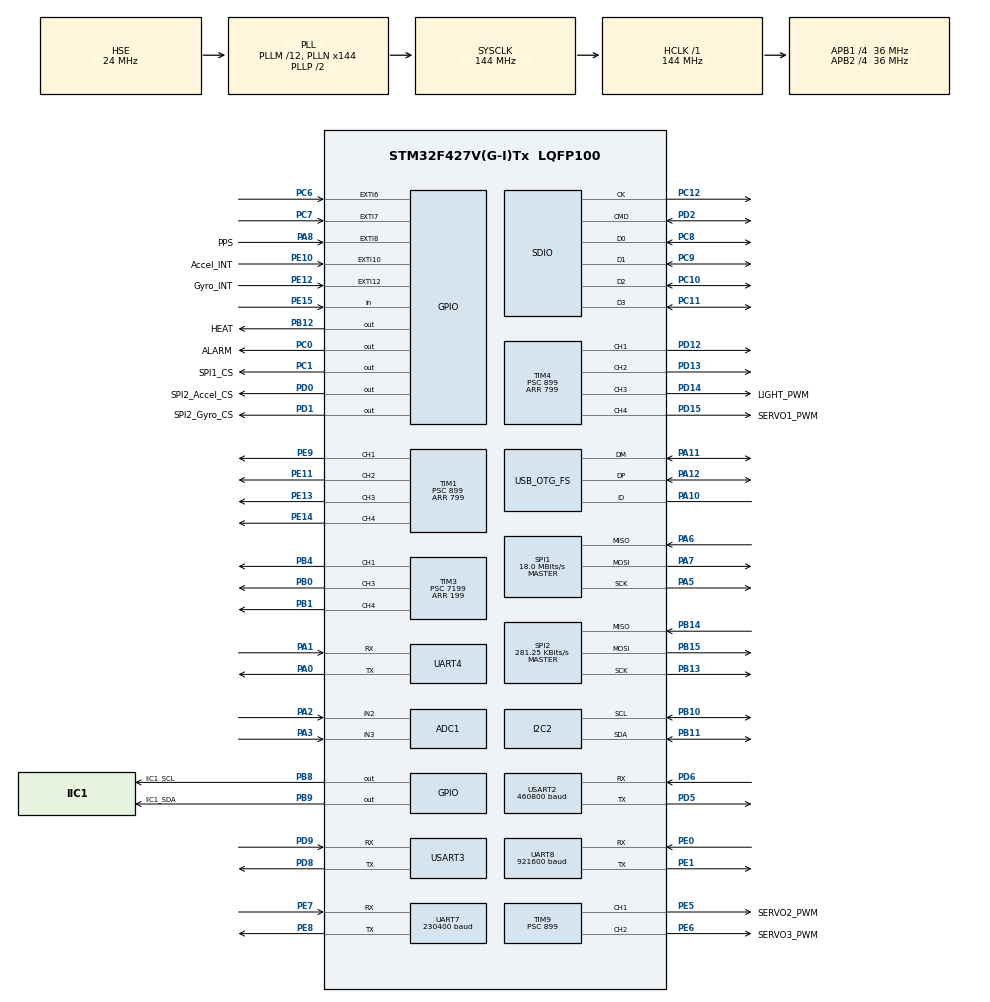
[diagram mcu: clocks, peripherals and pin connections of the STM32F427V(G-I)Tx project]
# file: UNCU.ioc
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ADC1.Channel-0\#ChannelRegularConversion=ADC_CHANNEL_2
ADC1.Channel-1\#ChannelRegularConversion=ADC_CHANNEL_3
ADC1.ClockPrescaler=ADC_CLOCK_SYNC_PCLK_DIV8
ADC1.ContinuousConvMode=ENABLE
ADC1.DMAContinuousRequests=ENABLE
ADC1.EnableAnalogWatchDog=false
ADC1.InjNumberOfConversion=0
ADC1.NbrOfConversion=2
ADC1.NbrOfConversionFlag=1
ADC1.Rank-0\#ChannelRegularConversion=1
ADC1.Rank-1\#ChannelRegularConversion=2
ADC1.SamplingTime-0\#ChannelRegularConversion=ADC_SAMPLETIME_28CYCLES
ADC1.SamplingTime-1\#ChannelRegularConversion=ADC_SAMPLETIME_28CYCLES
ADC1.ScanConvMode=ENABLE
ADC1.master=1
Dma.ADC1.2.Direction=DMA_PERIPH_TO_MEMORY
Dma.ADC1.2.FIFOMode=DMA_FIFOMODE_DISABLE
Dma.ADC1.2.Instance=DMA2_Stream0
Dma.ADC1.2.MemDataAlignment=DMA_MDATAALIGN_HALFWORD
Dma.ADC1.2.MemInc=DMA_MINC_ENABLE
Dma.ADC1.2.Mode=DMA_CIRCULAR
Dma.ADC1.2.PeriphDataAlignment=DMA_PDATAALIGN_HALFWORD
Dma.ADC1.2.PeriphInc=DMA_PINC_DISABLE
Dma.ADC1.2.Priority=DMA_PRIORITY_LOW
Dma.Request0=UART4_RX
Dma.Request1=USART2_RX
Dma.Request2=ADC1
Dma.Request3=SDIO_RX
Dma.Request4=SDIO_TX
Dma.Request5=UART8_TX
Dma.Request6=UART8_RX
Dma.Request7=SPI2_TX
Dma.Request8=USART3_RX
Dma.Request9=SPI2_RX
Dma.SDIO_RX.3.Direction=DMA_PERIPH_TO_MEMORY
Dma.SDIO_RX.3.FIFOMode=DMA_FIFOMODE_ENABLE
Dma.SDIO_RX.3.FIFOThreshold=DMA_FIFO_THRESHOLD_FULL
Dma.SDIO_RX.3.Instance=DMA2_Stream3
Dma.SDIO_RX.3.MemBurst=DMA_MBURST_INC4
Dma.SDIO_RX.3.MemDataAlignment=DMA_MDATAALIGN_WORD
Dma.SDIO_RX.3.MemInc=DMA_MINC_ENABLE
Dma.SDIO_RX.3.Mode=DMA_PFCTRL
Dma.SDIO_RX.3.PeriphBurst=DMA_PBURST_INC4
Dma.SDIO_RX.3.PeriphDataAlignment=DMA_PDATAALIGN_WORD
Dma.SDIO_RX.3.PeriphInc=DMA_PINC_DISABLE
Dma.SDIO_RX.3.Priority=DMA_PRIORITY_LOW
Dma.SDIO_TX.4.Direction=DMA_MEMORY_TO_PERIPH
Dma.SDIO_TX.4.FIFOMode=DMA_FIFOMODE_ENABLE
Dma.SDIO_TX.4.FIFOThreshold=DMA_FIFO_THRESHOLD_FULL
Dma.SDIO_TX.4.Instance=DMA2_Stream6
Dma.SDIO_TX.4.MemBurst=DMA_MBURST_INC4
Dma.SDIO_TX.4.MemDataAlignment=DMA_MDATAALIGN_WORD
Dma.SDIO_TX.4.MemInc=DMA_MINC_ENABLE
Dma.SDIO_TX.4.Mode=DMA_PFCTRL
Dma.SDIO_TX.4.PeriphBurst=DMA_PBURST_INC4
Dma.SDIO_TX.4.PeriphDataAlignment=DMA_PDATAALIGN_WORD
Dma.SDIO_TX.4.PeriphInc=DMA_PINC_DISABLE
Dma.SDIO_TX.4.Priority=DMA_PRIORITY_LOW
Dma.SPI2_RX.9.Direction=DMA_PERIPH_TO_MEMORY
Dma.SPI2_RX.9.FIFOMode=DMA_FIFOMODE_DISABLE
Dma.SPI2_RX.9.Instance=DMA1_Stream3
Dma.SPI2_RX.9.MemDataAlignment=DMA_MDATAALIGN_BYTE
Dma.SPI2_RX.9.MemInc=DMA_MINC_ENABLE
Dma.SPI2_RX.9.Mode=DMA_NORMAL
Dma.SPI2_RX.9.PeriphDataAlignment=DMA_PDATAALIGN_BYTE
Dma.SPI2_RX.9.PeriphInc=DMA_PINC_DISABLE
Dma.SPI2_RX.9.Priority=DMA_PRIORITY_VERY_HIGH
Dma.SPI2_TX.7.Direction=DMA_MEMORY_TO_PERIPH
Dma.SPI2_TX.7.FIFOMode=DMA_FIFOMODE_DISABLE
Dma.SPI2_TX.7.Instance=DMA1_Stream4
Dma.SPI2_TX.7.MemDataAlignment=DMA_MDATAALIGN_BYTE
Dma.SPI2_TX.7.MemInc=DMA_MINC_ENABLE
Dma.SPI2_TX.7.Mode=DMA_NORMAL
Dma.SPI2_TX.7.PeriphDataAlignment=DMA_PDATAALIGN_BYTE
Dma.SPI2_TX.7.PeriphInc=DMA_PINC_DISABLE
Dma.SPI2_TX.7.Priority=DMA_PRIORITY_HIGH
Dma.UART4_RX.0.Direction=DMA_PERIPH_TO_MEMORY
Dma.UART4_RX.0.FIFOMode=DMA_FIFOMODE_DISABLE
Dma.UART4_RX.0.Instance=DMA1_Stream2
Dma.UART4_RX.0.MemDataAlignment=DMA_MDATAALIGN_BYTE
Dma.UART4_RX.0.MemInc=DMA_MINC_ENABLE
Dma.UART4_RX.0.Mode=DMA_NORMAL
Dma.UART4_RX.0.PeriphDataAlignment=DMA_PDATAALIGN_BYTE
Dma.UART4_RX.0.PeriphInc=DMA_PINC_DISABLE
Dma.UART4_RX.0.Priority=DMA_PRIORITY_LOW
Dma.UART8_RX.6.Direction=DMA_PERIPH_TO_MEMORY
Dma.UART8_RX.6.FIFOMode=DMA_FIFOMODE_DISABLE
Dma.UART8_RX.6.Instance=DMA1_Stream6
Dma.UART8_RX.6.MemDataAlignment=DMA_MDATAALIGN_BYTE
Dma.UART8_RX.6.MemInc=DMA_MINC_ENABLE
Dma.UART8_RX.6.Mode=DMA_NORMAL
Dma.UART8_RX.6.PeriphDataAlignment=DMA_PDATAALIGN_BYTE
Dma.UART8_RX.6.PeriphInc=DMA_PINC_DISABLE
Dma.UART8_RX.6.Priority=DMA_PRIORITY_LOW
Dma.UART8_TX.5.Direction=DMA_MEMORY_TO_PERIPH
Dma.UART8_TX.5.FIFOMode=DMA_FIFOMODE_DISABLE
Dma.UART8_TX.5.Instance=DMA1_Stream0
Dma.UART8_TX.5.MemDataAlignment=DMA_MDATAALIGN_BYTE
Dma.UART8_TX.5.MemInc=DMA_MINC_ENABLE
Dma.UART8_TX.5.Mode=DMA_NORMAL
Dma.UART8_TX.5.PeriphDataAlignment=DMA_PDATAALIGN_BYTE
Dma.UART8_TX.5.PeriphInc=DMA_PINC_DISABLE
Dma.UART8_TX.5.Priority=DMA_PRIORITY_LOW
Dma.USART2_RX.1.Direction=DMA_PERIPH_TO_MEMORY
Dma.USART2_RX.1.FIFOMode=DMA_FIFOMODE_DISABLE
Dma.USART2_RX.1.Instance=DMA1_Stream5
Dma.USART2_RX.1.MemDataAlignment=DMA_MDATAALIGN_BYTE
Dma.USART2_RX.1.MemInc=DMA_MINC_ENABLE
Dma.USART2_RX.1.Mode=DMA_NORMAL
Dma.USART2_RX.1.PeriphDataAlignment=DMA_PDATAALIGN_BYTE
Dma.USART2_RX.1.PeriphInc=DMA_PINC_DISABLE
Dma.USART2_RX.1.Priority=DMA_PRIORITY_LOW
Dma.USART3_RX.8.Direction=DMA_PERIPH_TO_MEMORY
Dma.USART3_RX.8.FIFOMode=DMA_FIFOMODE_DISABLE
Dma.USART3_RX.8.Instance=DMA1_Stream1
Dma.USART3_RX.8.MemDataAlignment=DMA_MDATAALIGN_BYTE
Dma.USART3_RX.8.MemInc=DMA_MINC_ENABLE
Dma.USART3_RX.8.Mode=DMA_NORMAL
Dma.USART3_RX.8.PeriphDataAlignment=DMA_PDATAALIGN_BYTE
Dma.USART3_RX.8.PeriphInc=DMA_PINC_DISABLE
Dma.USART3_RX.8.Priority=DMA_PRIORITY_LOW
FATFS._CODE_PAGE=936
FATFS._FS_EXFAT=1
FATFS._FS_LOCK=4
FATFS._MAX_SS=4096
FATFS._USE_FIND=1
FATFS._USE_LFN=2
FREERTOS.Tasks01=startTask,32,1024,StarTaskEntry,Default,NULL,Dynamic,NULL,NULL
FREERTOS.configLIBRARY_MAX_SYSCALL_INTERRUPT_PRIORITY=2
FREERTOS.configTOTAL_HEAP_SIZE=51200
Mcu.Family=STM32F4
Mcu.Name=STM32F427V(G-I)Tx
Mcu.Package=LQFP100
NVIC.ADC_IRQn=true\:2\:0\:false\:false\:true\:true\:true\:true\:true
NVIC.DMA1_Stream0_IRQn=true\:2\:0\:false\:false\:true\:true\:false\:true\:true
NVIC.DMA1_Stream1_IRQn=true\:2\:0\:false\:false\:true\:true\:false\:true\:true
NVIC.DMA1_Stream2_IRQn=true\:2\:0\:false\:false\:true\:true\:false\:true\:true
NVIC.DMA1_Stream3_IRQn=true\:2\:0\:true\:false\:true\:true\:false\:true\:true
NVIC.DMA1_Stream4_IRQn=true\:2\:0\:true\:false\:true\:true\:false\:true\:true
NVIC.DMA1_Stream5_IRQn=true\:2\:0\:false\:false\:true\:true\:false\:true\:true
NVIC.DMA1_Stream6_IRQn=true\:2\:0\:false\:false\:true\:true\:false\:true\:true
NVIC.DMA2_Stream0_IRQn=true\:2\:0\:false\:false\:true\:true\:false\:true\:true
NVIC.DMA2_Stream3_IRQn=true\:7\:0\:true\:false\:true\:true\:false\:true\:true
NVIC.DMA2_Stream6_IRQn=true\:7\:0\:true\:false\:true\:true\:false\:true\:true
NVIC.PriorityGroup=NVIC_PRIORITYGROUP_4
NVIC.SDIO_IRQn=true\:5\:0\:true\:false\:true\:true\:true\:true\:true
NVIC.TIM2_IRQn=true\:15\:0\:false\:false\:true\:false\:false\:true\:true
NVIC.TimeBase=TIM2_IRQn
NVIC.TimeBaseIP=TIM2
NVIC.UART8_IRQn=true\:6\:0\:true\:false\:true\:true\:true\:true\:true
NVIC.USART3_IRQn=true\:2\:0\:false\:false\:true\:true\:true\:true\:true
PA0/WKUP.Mode=Asynchronous
PA0/WKUP.Signal=UART4_TX
PA1.Mode=Asynchronous
PA1.Signal=UART4_RX
PA10.Mode=OTG/Dual_Role_Device
PA10.Signal=USB_OTG_FS_ID
PA11.Mode=OTG/Dual_Role_Device
PA11.Signal=USB_OTG_FS_DM
PA12.Mode=OTG/Dual_Role_Device
PA12.Signal=USB_OTG_FS_DP
PA13.Mode=Serial_Wire
PA13.Signal=SYS_JTMS-SWDIO
PA14.Mode=Serial_Wire
PA14.Signal=SYS_JTCK-SWCLK
PA15.Signal=S_TIM2_CH1_ETR
PA2.Signal=ADCx_IN2
PA3.Signal=ADCx_IN3
PA5.Mode=Full_Duplex_Master
PA5.Signal=SPI1_SCK
PA6.Mode=Full_Duplex_Master
PA6.Signal=SPI1_MISO
PA7.Mode=Full_Duplex_Master
PA7.Signal=SPI1_MOSI
PA8.GPIO_Label=PPS
PA8.Signal=GPXTI8
PB0.Signal=S_TIM3_CH3
PB1.Signal=S_TIM3_CH4
PB10.Mode=I2C
PB10.Signal=I2C2_SCL
PB11.Mode=I2C
PB11.Signal=I2C2_SDA
PB12.GPIO_Label=HEAT
PB12.Signal=GPIO_Output
PB13.Mode=Full_Duplex_Master
PB13.Signal=SPI2_SCK
PB14.Mode=Full_Duplex_Master
PB14.Signal=SPI2_MISO
PB15.Mode=Full_Duplex_Master
PB15.Signal=SPI2_MOSI
PB4.Signal=S_TIM3_CH1
PB8.GPIO_Label=IIC1_SCL
PB8.GPIO_ModeDefaultOutputPP=GPIO_MODE_OUTPUT_OD
PB8.GPIO_PuPd=GPIO_NOPULL
PB8.PinState=GPIO_PIN_SET
PB8.Signal=GPIO_Output
PB9.GPIO_Label=IIC1_SDA
PB9.GPIO_ModeDefaultOutputPP=GPIO_MODE_OUTPUT_OD
PB9.GPIO_PuPd=GPIO_NOPULL
PB9.PinState=GPIO_PIN_SET
PB9.Signal=GPIO_Output
PC0.GPIO_Label=ALARM
PC0.GPIO_Speed=GPIO_SPEED_FREQ_HIGH
PC0.Signal=GPIO_Output
PC1.GPIO_Label=SPI1_CS
PC1.Signal=GPIO_Output
PC10.Mode=SD_4_bits_Wide_bus
PC10.Signal=SDIO_D2
PC11.Mode=SD_4_bits_Wide_bus
PC11.Signal=SDIO_D3
PC12.Mode=SD_4_bits_Wide_bus
PC12.Signal=SDIO_CK
PC14/OSC32_IN.Mode=LSE-External-Oscillator
PC14/OSC32_IN.Signal=RCC_OSC32_IN
PC15/OSC32_OUT.Mode=LSE-External-Oscillator
PC15/OSC32_OUT.Signal=RCC_OSC32_OUT
PC6.Signal=GPXTI6
PC7.Signal=GPXTI7
PC8.Mode=SD_4_bits_Wide_bus
PC8.Signal=SDIO_D0
PC9.Mode=SD_4_bits_Wide_bus
PC9.Signal=SDIO_D1
PD0.GPIO_Label=SPI2_Accel_CS
PD0.Signal=GPIO_Output
PD1.GPIO_Label=SPI2_Gyro_CS
PD1.Signal=GPIO_Output
PD12.Signal=S_TIM4_CH1
PD13.Signal=S_TIM4_CH2
PD14.GPIO_Label=LIGHT_PWM
PD14.Signal=S_TIM4_CH3
PD15.GPIO_Label=SERVO1_PWM
PD15.Signal=S_TIM4_CH4
PD2.Mode=SD_4_bits_Wide_bus
PD2.Signal=SDIO_CMD
PD3.Signal=USART2_CTS
PD4.Signal=USART2_RTS
PD5.Mode=Asynchronous
PD5.Signal=USART2_TX
PD6.Mode=Asynchronous
PD6.Signal=USART2_RX
PD8.Mode=Asynchronous
PD8.Signal=USART3_TX
PD9.Mode=Asynchronous
PD9.Signal=USART3_RX
PE0.Mode=Asynchronous
PE0.Signal=UART8_RX
PE1.Mode=Asynchronous
PE1.Signal=UART8_TX
PE10.GPIO_Label=Accel_INT
PE10.Signal=GPXTI10
PE11.Signal=S_TIM1_CH2
PE12.GPIO_Label=Gyro_INT
PE12.GPIO_PuPd=GPIO_PULLUP
PE12.Signal=GPXTI12
PE13.Signal=S_TIM1_CH3
PE14.Signal=S_TIM1_CH4
PE15.Signal=GPIO_Input
PE5.GPIO_Label=SERVO2_PWM
PE5.Signal=S_TIM9_CH1
PE6.GPIO_Label=SERVO3_PWM
PE6.Signal=S_TIM9_CH2
PE7.Mode=Asynchronous
PE7.Signal=UART7_RX
PE8.Mode=Asynchronous
PE8.Signal=UART7_TX
PE9.Signal=S_TIM1_CH1
PH0/OSC_IN.Mode=HSE-External-Oscillator
PH0/OSC_IN.Signal=RCC_OSC_IN
PH1/OSC_OUT.Mode=HSE-External-Oscillator
PH1/OSC_OUT.Signal=RCC_OSC_OUT
ProjectManager.HeapSize=0x500
ProjectManager.StackSize=0x1000
ProjectManager.TargetToolchain=MDK-ARM V5
RCC.48MHZClocksFreq_Value=48000000
RCC.AHBFreq_Value=144000000
RCC.APB1CLKDivider=RCC_HCLK_DIV4
RCC.APB1Freq_Value=36000000
RCC.APB1TimFreq_Value=72000000
RCC.APB2CLKDivider=RCC_HCLK_DIV4
RCC.APB2Freq_Value=36000000
RCC.APB2TimFreq_Value=72000000
RCC.CortexFreq_Value=144000000
RCC.HCLKFreq_Value=144000000
RCC.HSE_VALUE=24000000
RCC.HSI_VALUE=16000000
RCC.PLLM=12
RCC.PLLN=144
RCC.PLLQ=6
RCC.SYSCLKFreq_VALUE=144000000
RCC.SYSCLKSource=RCC_SYSCLKSOURCE_PLLCLK
RCC.VCOOutputFreq_Value=288000000
SDIO.ClockDiv=3
SH.ADCx_IN2.0=ADC1_IN2,IN2
SH.ADCx_IN3.0=ADC1_IN3,IN3
SH.S_TIM1_CH1.0=TIM1_CH1,PWM Generation1 CH1
SH.S_TIM1_CH2.0=TIM1_CH2,PWM Generation2 CH2
SH.S_TIM1_CH3.0=TIM1_CH3,PWM Generation3 CH3
SH.S_TIM1_CH4.0=TIM1_CH4,PWM Generation4 CH4
SH.S_TIM2_CH1_ETR.0=TIM2_CH1
SH.S_TIM3_CH1.0=TIM3_CH1,PWM Generation1 CH1
SH.S_TIM3_CH3.0=TIM3_CH3,PWM Generation3 CH3
SH.S_TIM3_CH4.0=TIM3_CH4,PWM Generation4 CH4
SH.S_TIM4_CH1.0=TIM4_CH1,PWM Generation1 CH1
SH.S_TIM4_CH2.0=TIM4_CH2,PWM Generation2 CH2
SH.S_TIM4_CH3.0=TIM4_CH3,PWM Generation3 CH3
SH.S_TIM4_CH4.0=TIM4_CH4,PWM Generation4 CH4
SH.S_TIM9_CH1.0=TIM9_CH1,PWM Generation1 CH1
SH.S_TIM9_CH2.0=TIM9_CH2,PWM Generation2 CH2
SPI1.BaudRatePrescaler=SPI_BAUDRATEPRESCALER_2
SPI1.CalculateBaudRate=18.0 MBits/s
SPI1.Direction=SPI_DIRECTION_2LINES
SPI1.Mode=SPI_MODE_MASTER
SPI1.VirtualType=VM_MASTER
SPI2.BaudRatePrescaler=SPI_BAUDRATEPRESCALER_128
SPI2.CLKPhase=SPI_PHASE_2EDGE
SPI2.CLKPolarity=SPI_POLARITY_HIGH
SPI2.CalculateBaudRate=281.25 KBits/s
SPI2.Direction=SPI_DIRECTION_2LINES
SPI2.Mode=SPI_MODE_MASTER
SPI2.VirtualType=VM_MASTER
TIM1.AutoReloadPreload=TIM_AUTORELOAD_PRELOAD_ENABLE
TIM1.BreakPolarity=TIM_BREAKPOLARITY_HIGH
TIM1.Channel-PWM\ Generation1\ CH1=TIM_CHANNEL_1
TIM1.Channel-PWM\ Generation2\ CH2=TIM_CHANNEL_2
TIM1.Channel-PWM\ Generation3\ CH3=TIM_CHANNEL_3
TIM1.Channel-PWM\ Generation4\ CH4=TIM_CHANNEL_4
TIM1.OCMode_PWM-PWM\ Generation1\ CH1=TIM_OCMODE_PWM1
TIM1.OCMode_PWM-PWM\ Generation2\ CH2=TIM_OCMODE_PWM1
TIM1.OCMode_PWM-PWM\ Generation3\ CH3=TIM_OCMODE_PWM1
TIM1.OCMode_PWM-PWM\ Generation4\ CH4=TIM_OCMODE_PWM1
TIM1.OCPolarity_1=TIM_OCPOLARITY_HIGH
TIM1.OCPolarity_2=TIM_OCPOLARITY_HIGH
TIM1.OCPolarity_3=TIM_OCPOLARITY_HIGH
TIM1.OCPolarity_4=TIM_OCPOLARITY_HIGH
TIM1.Period=799
TIM1.Prescaler=899
TIM1.Pulse-PWM\ Generation1\ CH1=60
TIM1.Pulse-PWM\ Generation2\ CH2=60
TIM1.Pulse-PWM\ Generation3\ CH3=60
TIM1.Pulse-PWM\ Generation4\ CH4=60
TIM14.Prescaler=35
TIM3.Channel-PWM\ Generation1\ CH1=TIM_CHANNEL_1
TIM3.Channel-PWM\ Generation3\ CH3=TIM_CHANNEL_3
TIM3.Channel-PWM\ Generation4\ CH4=TIM_CHANNEL_4
TIM3.OCMode_PWM-PWM\ Generation1\ CH1=TIM_OCMODE_PWM2
TIM3.OCMode_PWM-PWM\ Generation3\ CH3=TIM_OCMODE_PWM2
TIM3.OCMode_PWM-PWM\ Generation4\ CH4=TIM_OCMODE_PWM2
TIM3.Period=199
TIM3.Prescaler=7199
TIM3.Pulse-PWM\ Generation1\ CH1=15
TIM3.Pulse-PWM\ Generation3\ CH3=15
TIM3.Pulse-PWM\ Generation4\ CH4=15
TIM4.AutoReloadPreload=TIM_AUTORELOAD_PRELOAD_ENABLE
TIM4.Channel-PWM\ Generation1\ CH1=TIM_CHANNEL_1
TIM4.Channel-PWM\ Generation2\ CH2=TIM_CHANNEL_2
TIM4.Channel-PWM\ Generation3\ CH3=TIM_CHANNEL_3
TIM4.Channel-PWM\ Generation4\ CH4=TIM_CHANNEL_4
TIM4.OCMode_PWM-PWM\ Generation2\ CH2=TIM_OCMODE_PWM1
TIM4.OCMode_PWM-PWM\ Generation3\ CH3=TIM_OCMODE_PWM1
TIM4.Period=799
TIM4.Prescaler=899
TIM4.Pulse-PWM\ Generation1\ CH1=60
TIM4.Pulse-PWM\ Generation2\ CH2=60
TIM4.Pulse-PWM\ Generation3\ CH3=60
TIM4.Pulse-PWM\ Generation4\ CH4=60
TIM9.AutoReloadPreload=TIM_AUTORELOAD_PRELOAD_ENABLE
TIM9.Channel-PWM\ Generation1\ CH1=TIM_CHANNEL_1
TIM9.Channel-PWM\ Generation2\ CH2=TIM_CHANNEL_2
TIM9.OCMode_PWM-PWM\ Generation1\ CH1=TIM_OCMODE_PWM1
TIM9.OCMode_PWM-PWM\ Generation2\ CH2=TIM_OCMODE_PWM1
TIM9.Period=799
TIM9.Prescaler=899
TIM9.Pulse-PWM\ Generation1\ CH1=60
TIM9.Pulse-PWM\ Generation2\ CH2=60
UART4.VirtualMode=Asynchronous
UART7.BaudRate=230400
UART7.VirtualMode=Asynchronous
UART8.BaudRate=921600
UART8.VirtualMode=Asynchronous
USART2.BaudRate=460800
USART2.VirtualMode=VM_ASYNC
USART3.VirtualMode=VM_ASYNC
VP_FATFS_VS_SDIO.Mode=SDIO
VP_FREERTOS_VS_CMSIS_V2.Mode=CMSIS_V2
VP_SYS_VS_tim2.Mode=TIM2
VP_TIM14_VS_ClockSourceINT.Mode=Enable_Timer
VP_TIM1_VS_ClockSourceINT.Mode=Internal
VP_TIM3_VS_ClockSourceINT.Mode=Internal
VP_TIM4_VS_ClockSourceINT.Mode=Internal
VP_TIM9_VS_ClockSourceINT.Mode=Internal
board=custom

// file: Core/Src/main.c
/* USER CODE BEGIN Header */
/**
  ******************************************************************************
  * @file           : main.c
  * @brief          : Main program body
  ******************************************************************************
  * @attention
  *
  * Copyright (c) 2025 STMicroelectronics.
  * All rights reserved.
  *
  * This software is licensed under terms that can be found in the LICENSE file
  * in the root directory of this software component.
  * If no LICENSE file comes with this software, it is provided AS-IS.
  *
  ******************************************************************************
  */
/* USER CODE END Header */
#include "main.h"
#include "cmsis_os.h"
#include "adc.h"
#include "dma.h"
#include "fatfs.h"
#include "i2c.h"
#include "sdio.h"
#include "spi.h"
#include "tim.h"
#include "usart.h"
#include "usb_otg.h"
#include "gpio.h"

/* USER CODE BEGIN Includes */
#include <stdio.h>
#include "peripheral_app.h"
/* USER CODE END Includes */

/* USER CODE BEGIN PV */
uint16_t BAT_Cur_Value;
extern uint16_t ADC_Value[100];

/* USER CODE END PV */

void SystemClock_Config(void);
void MX_FREERTOS_Init(void);

int main(void)
{

  /* MCU Configuration--------------------------------------------------------*/

  /* Reset of all peripherals, Initializes the Flash interface and the Systick. */
  HAL_Init();

  /* Configure the system clock */
  SystemClock_Config();

  /* Initialize all configured peripherals */
  MX_GPIO_Init();
  MX_DMA_Init();
  MX_ADC1_Init();
  MX_I2C2_Init();
  MX_SPI1_Init();
  MX_SPI2_Init();
  MX_TIM1_Init();
  MX_TIM3_Init();
  MX_TIM4_Init();
  MX_UART4_Init();
  MX_UART7_Init();
  MX_UART8_Init();
  MX_USART2_UART_Init();
  MX_USART3_UART_Init();
  MX_USB_OTG_FS_USB_Init();
  MX_SDIO_SD_Init();
  MX_FATFS_Init();
  MX_TIM14_Init();
  MX_TIM9_Init();
  /* USER CODE BEGIN 2 */

 	BSP_SD_Init();
	usart_init();		/* open DMA idle interrupt */
	HAL_ADC_Start_DMA(&hadc1, ADC_Value, 100);
	#if 0
	HAL_ADC_Start_IT(&hadc1);
	HAL_ADC_Start(&hadc1);
	if(HAL_ADC_PollForConversion(&hadc1,10) == HAL_OK)
	{
		BAT_Cur_Value = HAL_ADC_GetValue(&hadc1);
		printf("Cur Reading = %d \r\n",BAT_Cur_Value);
		printf("BAT cur = %.2f ma \r\n",(float)BAT_Cur_Value * 10000 / 43 / 5);

	}
	#endif
  /* USER CODE END 2 */

  /* Init scheduler */
  osKernelInitialize();

  /* Call init function for freertos objects (in cmsis_os2.c) */
  MX_FREERTOS_Init();

  /* Start scheduler */
  osKernelStart();

  /* We should never get here as control is now taken by the scheduler */

  /* Infinite loop */
  while (1)
  {

  }
}

void SystemClock_Config(void)
{
  RCC_OscInitTypeDef RCC_OscInitStruct = {0};
  RCC_ClkInitTypeDef RCC_ClkInitStruct = {0};

  /** Configure the main internal regulator output voltage
  */
  __HAL_RCC_PWR_CLK_ENABLE();
  __HAL_PWR_VOLTAGESCALING_CONFIG(PWR_REGULATOR_VOLTAGE_SCALE1);

  /** Initializes the RCC Oscillators according to the specified parameters
  * in the RCC_OscInitTypeDef structure.
  */
  RCC_OscInitStruct.OscillatorType = RCC_OSCILLATORTYPE_HSE;
  RCC_OscInitStruct.HSEState = RCC_HSE_ON;
  RCC_OscInitStruct.PLL.PLLState = RCC_PLL_ON;
  RCC_OscInitStruct.PLL.PLLSource = RCC_PLLSOURCE_HSE;
  RCC_OscInitStruct.PLL.PLLM = 12;
  RCC_OscInitStruct.PLL.PLLN = 144;
  RCC_OscInitStruct.PLL.PLLP = RCC_PLLP_DIV2;
  RCC_OscInitStruct.PLL.PLLQ = 6;
  if (HAL_RCC_OscConfig(&RCC_OscInitStruct) != HAL_OK)
  {
    Error_Handler();
  }

  /** Initializes the CPU, AHB and APB buses clocks
  */
  RCC_ClkInitStruct.ClockType = RCC_CLOCKTYPE_HCLK|RCC_CLOCKTYPE_SYSCLK
                              |RCC_CLOCKTYPE_PCLK1|RCC_CLOCKTYPE_PCLK2;
  RCC_ClkInitStruct.SYSCLKSource = RCC_SYSCLKSOURCE_PLLCLK;
  RCC_ClkInitStruct.AHBCLKDivider = RCC_SYSCLK_DIV1;
  RCC_ClkInitStruct.APB1CLKDivider = RCC_HCLK_DIV4;
  RCC_ClkInitStruct.APB2CLKDivider = RCC_HCLK_DIV4;

  if (HAL_RCC_ClockConfig(&RCC_ClkInitStruct, FLASH_LATENCY_4) != HAL_OK)
  {
    Error_Handler();
  }
}

void HAL_TIM_PeriodElapsedCallback(TIM_HandleTypeDef *htim)
{
  if (htim->Instance == TIM2) {
    HAL_IncTick();
  }
}

void Error_Handler(void)
{
  __disable_irq();
  while (1)
  {
  }
}

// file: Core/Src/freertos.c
/* USER CODE BEGIN Header */
/**
  ******************************************************************************
  * File Name          : freertos.c
  * Description        : Code for freertos applications
  ******************************************************************************
  * @attention
  *
  * Copyright (c) 2025 STMicroelectronics.
  * All rights reserved.
  *
  * This software is licensed under terms that can be found in the LICENSE file
  * in the root directory of this software component.
  * If no LICENSE file comes with this software, it is provided AS-IS.
  *
  ******************************************************************************
  */
/* USER CODE END Header */

#include "FreeRTOS.h"
#include "task.h"
#include "main.h"
#include "cmsis_os.h"

/* USER CODE BEGIN Includes */
#include "gps.h"
#include "icm45686.h"
#include "ms5837.h"
#include "peripheral_app.h"
#include "protocol.h"
#include "qmc5883p.h"
#include "rov.h"
#include "sgm8198.h"
#include "P30_sonar.h"
#include "INS_task.h"
/* USER CODE END Includes */

/* USER CODE BEGIN PD */
#if INCLUDE_uxTaskGetStackHighWaterMark
#define STACK_USED_DETECT
#endif

#ifdef STACK_USED_DETECT
void StackDetect_Task( void * pvParameters );
#define OS_THREAD_ID_TO_TASK_HANDLE(osId)  ((TaskHandle_t)(osId))

#endif

/* USER CODE END PD */

/* USER CODE BEGIN Variables */

/* Definitions for rovTask */
osThreadId_t rovTaskId;
const osThreadAttr_t rovTask_attributes = {
  .name = "rovTask",
  .stack_size = 1024 * 2,
  .priority = (osPriority_t) osPriorityAboveNormal,
};
/* Definitions for printTask */
osThreadId_t printTaskId;
const osThreadAttr_t printTask_attributes = {
  .name = "printTask",
  .stack_size = 512 * 4,
  .priority = (osPriority_t) osPriorityAboveNormal1,
};

/* Definitions for ADCTask */
osThreadId_t ADCTaskId;
const osThreadAttr_t ADCTask_attributes = {
  .name = "ADCTask",
  .stack_size = 512 * 4,
  .priority = (osPriority_t) osPriorityAboveNormal1,
};

/* Definitions for GPSTask */
osThreadId_t GPSTaskId;
const osThreadAttr_t GPSTask_attributes = {
  .name = "GPSTask",
  .stack_size = 1024 * 2,
  .priority = (osPriority_t) osPriorityAboveNormal1,
};

/* Definitions for SDTask */
osThreadId_t SDTaskId;
const osThreadAttr_t SDTask_attributes = {
  .name = "SDTask",
  .stack_size = 1024 * 4,
  .priority = (osPriority_t) osPriorityAboveNormal1,
};

/* Definitions for msgTask */
osThreadId_t msgTaskId;
const osThreadAttr_t msgTask_attributes = {
  .name = "msgTask",
  .stack_size = 512 * 4,
  .priority = (osPriority_t) osPriorityAboveNormal1,
};

/* Definitions for msgTask */
osThreadId_t StackDetectId;
const osThreadAttr_t StackDetectTask_attributes = {
  .name = "StackDetectTask",
  .stack_size = 512 * 2,
  .priority = (osPriority_t) osPriorityAboveNormal1,
};
/* Definitions for ms5837Task */
osThreadId_t ms5837TaskId;
const osThreadAttr_t ms5837Task_attributes = {
.name = "ms5837Task",
.stack_size = 512 * 4,
.priority = (osPriority_t) osPriorityAboveNormal1,
};
/* Definitions for remote_control_task */
osThreadId_t remote_control_TaskId;
const osThreadAttr_t remote_control_Task_attributes = {
.name = "remote_control_task",
.stack_size = 512 * 4,
.priority = (osPriority_t) osPriorityAboveNormal1,
};
/* Definitions for P30_Task */
osThreadId_t P30_TaskId;
const osThreadAttr_t P30_Task_attributes = {
  .name = "P30_Task",
  .stack_size = 512 * 4,
  .priority = (osPriority_t) osPriorityAboveNormal1,
};
/* Definitions for INS_task */
osThreadId_t INS_TaskId;
const osThreadAttr_t INS_Task_attributes = {
  .name = "INS_Task",
  .stack_size = 512 * 4,
  .priority = (osPriority_t) osPriorityAboveNormal1,
};
/* USER CODE END Variables */
/* Definitions for startTask */
osThreadId_t startTaskHandle;
const osThreadAttr_t startTask_attributes = {
  .name = "startTask",
  .stack_size = 1024 * 4,
  .priority = (osPriority_t) osPriorityAboveNormal,
};

void StarTaskEntry(void *argument);

void MX_FREERTOS_Init(void); /* (MISRA C 2004 rule 8.1) */

void MX_FREERTOS_Init(void) {
  /* USER CODE BEGIN Init */

	SDTaskId  = osThreadNew(sd_task, NULL, &SDTask_attributes);
  	GPSTaskId  = osThreadNew(gps_task, NULL, &GPSTask_attributes);
  	rovTaskId = osThreadNew(StartrovTask, NULL, &rovTask_attributes);
 	printTaskId = osThreadNew(uart8_task, NULL, &printTask_attributes);
  	ADCTaskId = osThreadNew(get_batCV_task, NULL, &ADCTask_attributes);
	msgTaskId = osThreadNew(msg_task, NULL, &msgTask_attributes);
	ms5837TaskId = osThreadNew(MS5837_Task, NULL, &ms5837Task_attributes);
	remote_control_TaskId = osThreadNew(remote_control_task, NULL, &remote_control_Task_attributes);
	P30_TaskId = osThreadNew(P30_Task, NULL, &P30_Task_attributes);
	INS_TaskId = osThreadNew(INS_task, NULL, &INS_Task_attributes);
  /* USER CODE END Init */

  /* Create the thread(s) */
  /* creation of startTask */
  startTaskHandle = osThreadNew(StarTaskEntry, NULL, &startTask_attributes);

  /* USER CODE BEGIN RTOS_THREADS */
  	#ifdef STACK_USED_DETECT
	StackDetectId = osThreadNew(StackDetect_Task, NULL, &msgTask_attributes);
	#endif
  /* USER CODE END RTOS_THREADS */

}

void StarTaskEntry(void *argument)
{
  /* USER CODE BEGIN StarTaskEntry */
  osDelay(2000);

  setGPS();

  /* Infinite loop */
  for(;;)
  {
    osDelay(1000);
  }
  /* USER CODE END StarTaskEntry */
}

/* USER CODE BEGIN Application */

#ifdef STACK_USED_DETECT
void StackDetect_Task( void * pvParameters )
{
	UBaseType_t uxHighWaterMark;
	TaskHandle_t rovTaskHandle,printTaskHandle,ADCTaskHandle,GPSTaskHandle,SDTaskHandle,
				 msgTaskHandle,startTaskHandle2,currentHandle,ms5837TaskHandle;  // FreeRTOS原生句柄
	while(1)
	{
		rovTaskHandle = OS_THREAD_ID_TO_TASK_HANDLE(rovTaskId);
		uxHighWaterMark = uxTaskGetStackHighWaterMark(rovTaskHandle);
//		printf("rovTask    free %d\r\n",uxHighWaterMark);

		printTaskHandle = OS_THREAD_ID_TO_TASK_HANDLE(printTaskId);
		uxHighWaterMark = uxTaskGetStackHighWaterMark(printTaskHandle);
//		printf("printTask  free %d\r\n",uxHighWaterMark);

		ADCTaskHandle = OS_THREAD_ID_TO_TASK_HANDLE(ADCTaskId);
		uxHighWaterMark = uxTaskGetStackHighWaterMark(ADCTaskHandle);
//		printf("ADCTask    free %d\r\n",uxHighWaterMark);

		GPSTaskHandle = OS_THREAD_ID_TO_TASK_HANDLE(GPSTaskId);
		uxHighWaterMark = uxTaskGetStackHighWaterMark(GPSTaskHandle);
//		printf("GPSTask    free %d\r\n",uxHighWaterMark);

		SDTaskHandle = OS_THREAD_ID_TO_TASK_HANDLE(SDTaskId);
		uxHighWaterMark = uxTaskGetStackHighWaterMark(SDTaskHandle);
//		printf("SDTask     free %d\r\n",uxHighWaterMark);

		msgTaskHandle = OS_THREAD_ID_TO_TASK_HANDLE(msgTaskId);
		uxHighWaterMark = uxTaskGetStackHighWaterMark(msgTaskHandle);
//		printf("msgTask    free %d\r\n",uxHighWaterMark);

		ms5837TaskHandle = OS_THREAD_ID_TO_TASK_HANDLE(ms5837TaskId);
		uxHighWaterMark = uxTaskGetStackHighWaterMark(ms5837TaskHandle);
//		printf("ms5837Task free %d\r\n",uxHighWaterMark);

		ms5837TaskHandle = OS_THREAD_ID_TO_TASK_HANDLE(ms5837TaskId);
		uxHighWaterMark = uxTaskGetStackHighWaterMark(ms5837TaskHandle);

		startTaskHandle2 = OS_THREAD_ID_TO_TASK_HANDLE(startTaskHandle);
		uxHighWaterMark = uxTaskGetStackHighWaterMark(startTaskHandle2);
//		printf("startTask  free %d\r\n",uxHighWaterMark);

		currentHandle = OS_THREAD_ID_TO_TASK_HANDLE(osThreadGetId());
		uxHighWaterMark = uxTaskGetStackHighWaterMark(currentHandle);
//		printf("curTask    free %d\r\n",uxHighWaterMark);

		osDelay(1000);
	}
}
#endif

/* USER CODE END Application */
